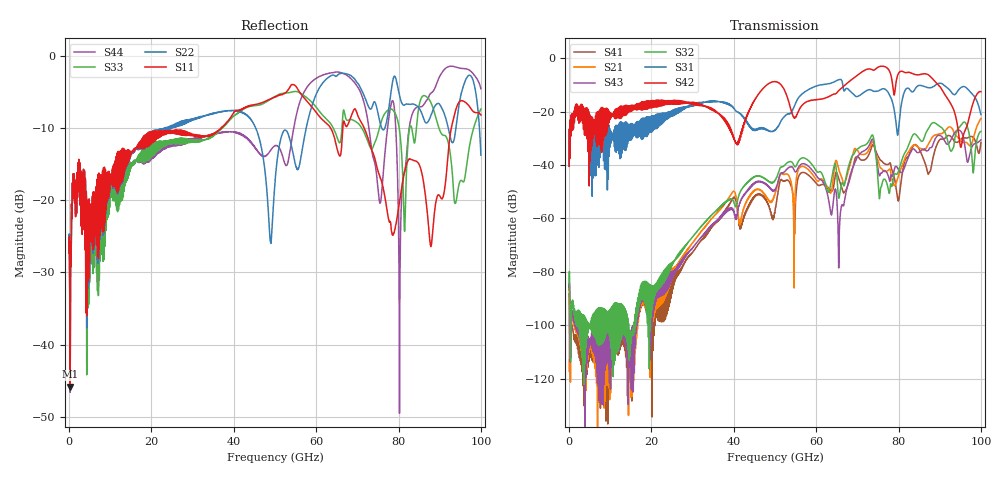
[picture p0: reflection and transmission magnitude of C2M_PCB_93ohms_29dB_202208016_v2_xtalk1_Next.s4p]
! Info: Touchstone file created by Circ.  Input file=Intel_C2M_200G_13p0in_202208016_staggered.circ
# Hz S RI R 50
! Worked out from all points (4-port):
!   10000 points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, 10 MHz to 100 GHz, reference 50 ohm
!   strongest paths, dB at 10 MHz, 25.01 GHz, 50.01 GHz, 75.01 GHz, 100 GHz:
!     S42: -40.4, -16.8, -8.7, -3.4, -12.5
!     S31: -40.5, -21.2, -27.0, -12.3, -21.1
!     S32: -84.2, -77.5, -45.8, -45.5, -27.4
!     S43: -85.5, -81.7, -49.4, -41.5, -30.5
!     S21: -85.9, -80.8, -50.6, -38.3, -22.6
!     S41: -88.3, -82.8, -57.1, -36.6, -31.6
!   lowest |S11| = -45.8 dB at 270 MHz (marker M1), VSWR 1.01, Z = 50.3 - j0.422 ohm
!   |S11| at or under -10 dB: start of sweep to 36.96 GHz; 63.49 GHz to 66.47 GHz (2.974 GHz wide, 4.58 % of centre); 71.65 GHz to 92.82 GHz (21.17 GHz wide, 25.7 % of centre)
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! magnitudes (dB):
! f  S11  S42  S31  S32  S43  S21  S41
! 10 MHz  -27.4  -40.4  -40.5  -84.2  -85.5  -85.9  -88.3
! 270 MHz  -45.8  -23.1  -23.1  -93.4  -99.6  -99.9  -100.6
! 65.64 GHz  -13.8  -11.9  -8.0  -51.7  -64.2  -42.3  -45.8
! 73.47 GHz  -13.0  -4.2  -12.0  -28.9  -30.6  -31.7  -33.2
! 76.02 GHz  -17.7  -3.0  -11.5  -46.9  -42.8  -41.6  -38.7
! 95.19 GHz  -6.2  -33.2  -10.9  -25.0  -27.5  -31.0  -30.2
! 100 GHz  -8.2  -12.5  -21.1  -27.4  -30.5  -22.6  -31.6
